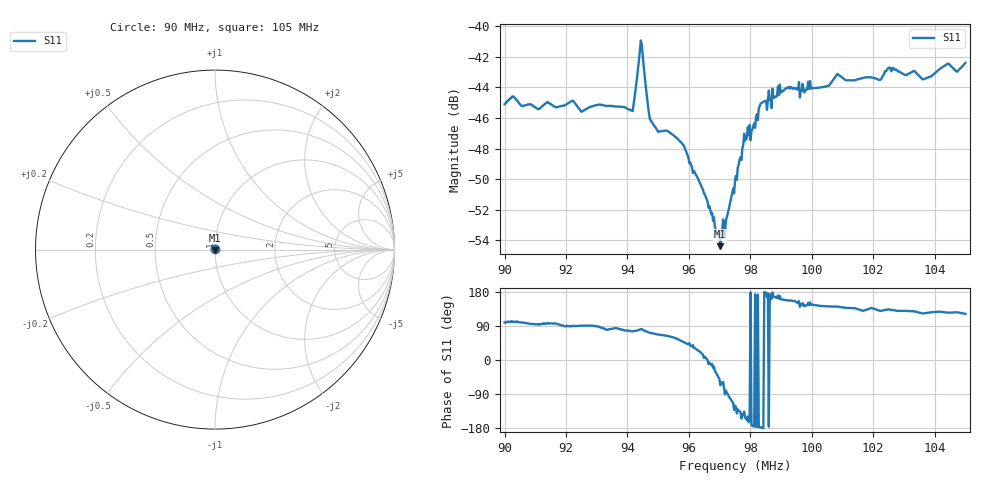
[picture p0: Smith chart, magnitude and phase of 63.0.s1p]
# HZ S RI R 50
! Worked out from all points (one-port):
!   505 points, 90 MHz to 105 MHz, reference 50 ohm
!   lowest |S11| = -54.4 dB at 97.02 MHz (marker M1), VSWR 1.00, Z = 50.1 - j0.175 ohm
!   |S11| at or under -10 dB: start of sweep to end of sweep
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9e7  -0.000865 0.00549
9.026786e7  -0.00113 0.00579
9.107143e7  -0.000368 0.00535
9.187501e7  -9.58e-05 0.00549
9.375001e7  0.000799 0.0054
9.416668e7  0.0013 0.00511
9.443454e7  0.0013 0.00889
9.449406e7  0.00143 0.00791
9.467263e7  0.00157 0.00521
9.476192e7  0.00158 0.00465
9.562502e7  0.00243 0.00353
9.586311e7  0.00278 0.00288
9.702383e7  0.000757 -0.00175
9.72024e7  0.00036 -0.00228
9.750002e7  -0.00159 -0.00268
9.785717e7  -0.00387 -0.00179
9.80655e7  -0.00457 -0.000503
9.833336e7  -0.00557 -0.000234
9.937503e7  -0.00568 0.00258
1.00506e8  -0.00498 0.00397
1.008631e8  -0.00537 0.00441
1.0125e8  -0.00487 0.00452
1.022024e8  -0.00428 0.00511
1.025e8  -0.00506 0.00528
1.03125e8  -0.00441 0.00539
1.036608e8  -0.0037 0.00561
1.044048e8  -0.00433 0.00614
1.05e8  -0.00398 0.00645
